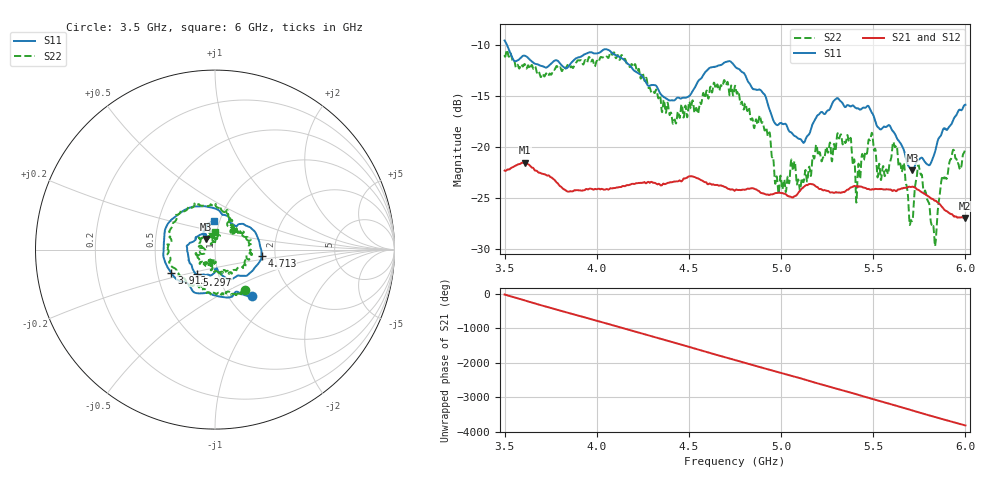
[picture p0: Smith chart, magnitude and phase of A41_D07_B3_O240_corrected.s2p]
! Created with skrf 1.9.0 (http://scikit-rf.org).
# Hz S RI R 50.0
!freq ReS11 ImS11 ReS21 ImS21 ReS12 ImS12 ReS22 ImS22
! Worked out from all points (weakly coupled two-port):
!   1601 points, 3.5 GHz to 6 GHz, reference 50 ohm
!   highest |S21| = -21.55 dB at 3.609 GHz (marker M1); lowest = -27.0 dB at 5.995 GHz (marker M2)
!   lowest |S11| = -22.3 dB at 5.713 GHz (marker M3), VSWR 1.17, Z = 45.1 + j5.4 ohm
!   |S11| at or under -10 dB: 3.512 GHz to end of sweep
!   |S22| runs from -29.7 to -10.5 dB; largest |S21 - S12| = 0.00093
!   S11 on the Smith chart (normalised r, x): 3.5 GHz: 1.27, -0.74; 3.913 GHz: 0.59, -0.17; 4.713 GHz: 1.69, -0.14; 5.297 GHz: 0.79, -0.23; 6 GHz: 0.94, +0.31
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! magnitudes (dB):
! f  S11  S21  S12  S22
! 3.5 GHz  -9.6  -22.3  -22.3  -11.0
! 3.609 GHz  -11.1  -21.6  -21.6  -11.9
! 3.913 GHz  -11.2  -24.3  -24.3  -11.5
! 3.917 GHz  -11.2  -24.3  -24.3  -11.6
! 4.334 GHz  -14.4  -23.6  -23.6  -15.3
! 4.422 GHz  -15.5  -23.4  -23.4  -17.4
! 4.713 GHz  -11.6  -24.1  -24.1  -13.9
! 4.75 GHz  -12.1  -24.3  -24.2  -14.0
! 4.93 GHz  -15.9  -24.7  -24.7  -19.0
! 4.978 GHz  -17.9  -24.5  -24.5  -23.1
! 5.167 GHz  -18.0  -23.7  -23.6  -21.8
! 5.297 GHz  -15.3  -24.5  -24.4  -20.3
! 5.416 GHz  -16.2  -23.9  -23.9  -22.7
! 5.486 GHz  -16.5  -24.2  -24.2  -19.2
! 5.584 GHz  -17.9  -24.2  -24.2  -22.2
! 5.619 GHz  -18.8  -24.3  -24.3  -20.0
! 5.713 GHz  -22.3  -23.9  -23.9  -27.3
! 5.752 GHz  -21.2  -24.3  -24.3  -22.2
! 5.833 GHz  -20.7  -25.3  -25.2  -29.4
! 5.877 GHz  -18.4  -26.0  -25.9  -22.9
! 5.995 GHz  -15.9  -27.0  -26.9  -20.5
! 6 GHz  -15.9  -26.9  -26.9  -20.1
